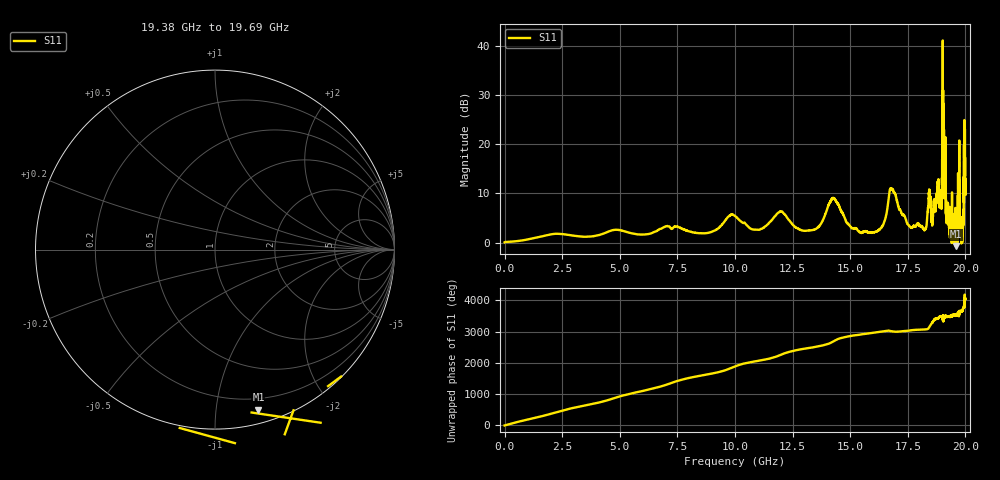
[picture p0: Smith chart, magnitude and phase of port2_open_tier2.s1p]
! Created with skrf 1.8.0 (http://scikit-rf.org).
# GHz S RI R 50.0
!freq ReS11 ImS11
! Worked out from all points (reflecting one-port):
!   10001 points, 1 MHz to 20 GHz, reference 50 ohm
!   lowest |S11| = -0.7 dB at 19.58 GHz (marker M1), VSWR 25.13, Z = 5.38 - j65.1 ohm
!   phase of S11 starts at 0 deg and turns +4061 deg over the sweep
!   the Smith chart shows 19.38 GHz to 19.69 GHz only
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0.001  1.011 0.00301
1.518924  0.1686 -1.133
2.500875  -0.5157 1.113
4.052797  1.183 0.1255
5.00075  -1.171 -0.6573
5.848708  1.214 0.0258
6.898655  -1.391 -0.3405
7.500625  1.406 -0.3709
8.642568  -1.233 0.1921
9.40053  0.4436 -1.43
10.0005  0.0357 1.871
10.89646  -0.3806 -1.303
11.66642  1.744 0.3596
11.9864  -0.3554 2.053
12.50038  -1.161 -0.998
13.70831  1.397 0.6208
14.0883  -0.4925 2.445
14.29829  -2.8 -0.101
14.51427  -0.5574 -2.303
15.00025  1.374 -0.5128
16.88016  -1.859 2.693
17.50013  -1.308 0.8002
18.32408  -1.564 -0.4499
18.52807  1.79 0.5758
18.66207  -2.522 0.7178
19.04205  -6.178 -7.26
19.57802  0.2421 -0.8912
20  -0.7797 3.969
